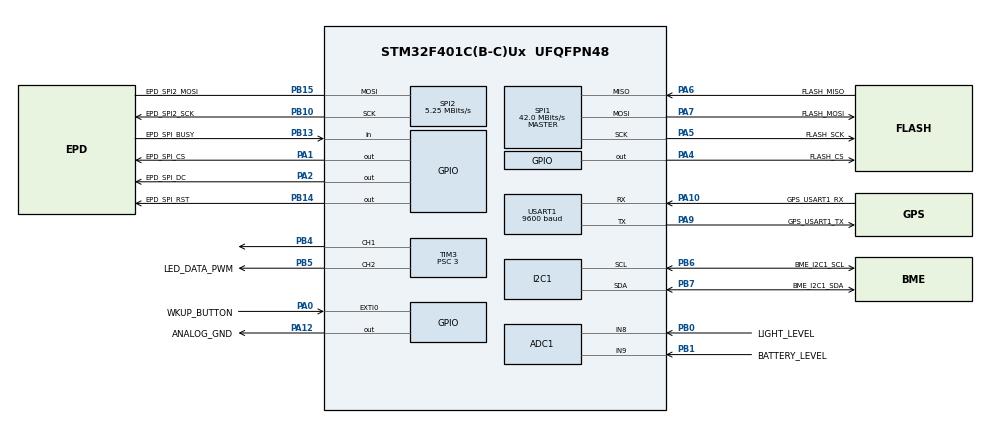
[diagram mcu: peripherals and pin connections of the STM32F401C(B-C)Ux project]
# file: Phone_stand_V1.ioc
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ADC1.Channel-4\#ChannelRegularConversion=ADC_CHANNEL_9
ADC1.NbrOfConversionFlag=1
ADC1.Rank-4\#ChannelRegularConversion=1
ADC1.SamplingTime-4\#ChannelRegularConversion=ADC_SAMPLETIME_3CYCLES
ADC1.master=1
Dma.Request0=SPI2_TX
Dma.Request1=TIM3_CH2
Dma.SPI2_TX.0.Direction=DMA_MEMORY_TO_PERIPH
Dma.SPI2_TX.0.FIFOMode=DMA_FIFOMODE_DISABLE
Dma.SPI2_TX.0.Instance=DMA1_Stream4
Dma.SPI2_TX.0.MemDataAlignment=DMA_MDATAALIGN_BYTE
Dma.SPI2_TX.0.MemInc=DMA_MINC_ENABLE
Dma.SPI2_TX.0.Mode=DMA_NORMAL
Dma.SPI2_TX.0.PeriphDataAlignment=DMA_PDATAALIGN_BYTE
Dma.SPI2_TX.0.PeriphInc=DMA_PINC_DISABLE
Dma.SPI2_TX.0.Priority=DMA_PRIORITY_VERY_HIGH
Dma.TIM3_CH2.1.Direction=DMA_MEMORY_TO_PERIPH
Dma.TIM3_CH2.1.FIFOMode=DMA_FIFOMODE_DISABLE
Dma.TIM3_CH2.1.Instance=DMA1_Stream5
Dma.TIM3_CH2.1.MemDataAlignment=DMA_MDATAALIGN_HALFWORD
Dma.TIM3_CH2.1.MemInc=DMA_MINC_ENABLE
Dma.TIM3_CH2.1.Mode=DMA_NORMAL
Dma.TIM3_CH2.1.PeriphDataAlignment=DMA_PDATAALIGN_HALFWORD
Dma.TIM3_CH2.1.PeriphInc=DMA_PINC_DISABLE
Dma.TIM3_CH2.1.Priority=DMA_PRIORITY_LOW
Mcu.Family=STM32F4
Mcu.Name=STM32F401C(B-C)Ux
Mcu.Package=UFQFPN48
NVIC.DMA1_Stream4_IRQn=true\:0\:0\:false\:true\:true\:5\:false\:true\:true
NVIC.DMA1_Stream5_IRQn=true\:0\:0\:false\:false\:true\:false\:true\:true
NVIC.EXTI0_IRQn=true\:0\:0\:true\:true\:true\:2\:true\:true\:true
NVIC.PriorityGroup=NVIC_PRIORITYGROUP_4
NVIC.RTC_Alarm_IRQn=true\:0\:0\:true\:true\:true\:1\:true\:true\:true
NVIC.TIM3_IRQn=true\:0\:0\:false\:false\:true\:true\:true\:true
NVIC.TIM4_IRQn=true\:0\:0\:false\:true\:true\:4\:true\:true\:true
NVIC.USART1_IRQn=true\:1\:0\:true\:true\:true\:3\:true\:true\:true
PA0-WKUP.GPIO_Label=WKUP_BUTTON
PA0-WKUP.GPIO_PuPd=GPIO_PULLDOWN
PA0-WKUP.Signal=GPXTI0
PA1.GPIO_Label=EPD_SPI_CS
PA1.Signal=GPIO_Output
PA10.GPIO_Label=GPS_USART1_RX
PA10.Mode=Asynchronous
PA10.Signal=USART1_RX
PA12.GPIO_Label=ANALOG_GND
PA12.GPIO_ModeDefaultOutputPP=GPIO_MODE_OUTPUT_OD
PA12.GPIO_PuPd=GPIO_NOPULL
PA12.PinState=GPIO_PIN_SET
PA12.Signal=GPIO_Output
PA13.Mode=Serial_Wire
PA13.Signal=SYS_JTMS-SWDIO
PA14.Mode=Serial_Wire
PA14.Signal=SYS_JTCK-SWCLK
PA2.GPIO_Label=EPD_SPI_DC
PA2.Signal=GPIO_Output
PA4.GPIO_Label=FLASH_CS
PA4.GPIO_Speed=GPIO_SPEED_FREQ_HIGH
PA4.PinState=GPIO_PIN_SET
PA4.Signal=GPIO_Output
PA5.GPIO_Label=FLASH_SCK
PA5.Mode=Full_Duplex_Master
PA5.Signal=SPI1_SCK
PA6.GPIO_Label=FLASH_MISO
PA6.Mode=Full_Duplex_Master
PA6.Signal=SPI1_MISO
PA7.GPIO_Label=FLASH_MOSI
PA7.Mode=Full_Duplex_Master
PA7.Signal=SPI1_MOSI
PA9.GPIO_Label=GPS_USART1_TX
PA9.Mode=Asynchronous
PA9.Signal=USART1_TX
PB0.GPIO_Label=LIGHT_LEVEL
PB0.Signal=ADCx_IN8
PB1.GPIO_Label=BATTERY_LEVEL
PB1.Signal=ADCx_IN9
PB10.GPIO_Label=EPD_SPI2_SCK
PB10.Mode=Simplex_Bidirectional_Master
PB10.Signal=SPI2_SCK
PB13.GPIO_Label=EPD_SPI_BUSY
PB13.Signal=GPIO_Input
PB14.GPIO_Label=EPD_SPI_RST
PB14.Signal=GPIO_Output
PB15.GPIO_Label=EPD_SPI2_MOSI
PB15.Mode=Simplex_Bidirectional_Master
PB15.Signal=SPI2_MOSI
PB4.Signal=S_TIM3_CH1
PB5.GPIO_Label=LED_DATA_PWM
PB5.Signal=S_TIM3_CH2
PB6.GPIO_Label=BME_I2C1_SCL
PB6.Mode=I2C
PB6.Signal=I2C1_SCL
PB7.GPIO_Label=BME_I2C1_SDA
PB7.Mode=I2C
PB7.Signal=I2C1_SDA
PC14-OSC32_IN.Mode=LSE-External-Oscillator
PC14-OSC32_IN.Signal=RCC_OSC32_IN
PC15-OSC32_OUT.Mode=LSE-External-Oscillator
PC15-OSC32_OUT.Signal=RCC_OSC32_OUT
PH0\ -\ OSC_IN.Mode=HSE-External-Oscillator
PH0\ -\ OSC_IN.Signal=RCC_OSC_IN
PH1\ -\ OSC_OUT.Mode=HSE-External-Oscillator
PH1\ -\ OSC_OUT.Signal=RCC_OSC_OUT
ProjectManager.HeapSize=0x5000
ProjectManager.StackSize=0x800
ProjectManager.TargetToolchain=STM32CubeIDE
RCC.48MHZClocksFreq_Value=24000000
RCC.AHBFreq_Value=84000000
RCC.APB1CLKDivider=RCC_HCLK_DIV2
RCC.APB1Freq_Value=42000000
RCC.APB1TimFreq_Value=84000000
RCC.APB2Freq_Value=84000000
RCC.APB2TimFreq_Value=84000000
RCC.CortexFreq_Value=84000000
RCC.HCLKFreq_Value=84000000
RCC.HSE_VALUE=26000000
RCC.HSI_VALUE=16000000
RCC.PLLM=13
RCC.PLLN=84
RCC.PLLQ=7
RCC.PLLSourceVirtual=RCC_PLLSOURCE_HSE
RCC.RCC_RTC_Clock_SourceVirtual=RCC_RTCCLKSOURCE_LSE
RCC.SYSCLKFreq_VALUE=84000000
RCC.SYSCLKSource=RCC_SYSCLKSOURCE_PLLCLK
RCC.VCOOutputFreq_Value=168000000
RTC.Alarm=RTC_ALARM_A
RTC.AlarmDateWeekDaySel=RTC_ALARMDATEWEEKDAYSEL_WEEKDAY
RTC.AlarmDateWeekDaySel_B=RTC_ALARMDATEWEEKDAYSEL_WEEKDAY
RTC.AlarmMaskDateWeekDay=RTC_ALARMMASK_DATEWEEKDAY
RTC.AlarmMaskDateWeekDay_B=RTC_ALARMMASK_DATEWEEKDAY
RTC.AlarmMaskHours=RTC_ALARMMASK_HOURS
RTC.AlarmMaskHours_B=RTC_ALARMMASK_HOURS
RTC.AlarmMaskMinutes=RTC_ALARMMASK_MINUTES
RTC.AlarmMaskMinutes_B=RTC_ALARMMASK_MINUTES
RTC.Alarm_B=RTC_ALARM_B
RTC.DayLightSaving=RTC_DAYLIGHTSAVING_NONE
RTC.Format=RTC_FORMAT_BIN
RTC.Seconds_A=30
RTC.Seconds_B=30
RTC.StoreOperation=RTC_STOREOPERATION_SET
SH.ADCx_IN8.0=ADC1_IN8,IN8
SH.ADCx_IN9.0=ADC1_IN9,IN9
SH.S_TIM3_CH1.0=TIM3_CH1,PWM Generation1 CH1
SH.S_TIM3_CH2.0=TIM3_CH2,PWM Generation2 CH2
SPI1.CalculateBaudRate=42.0 MBits/s
SPI1.Direction=SPI_DIRECTION_2LINES
SPI1.Mode=SPI_MODE_MASTER
SPI1.VirtualType=VM_MASTER
SPI2.BaudRatePrescaler=SPI_BAUDRATEPRESCALER_8
SPI2.CalculateBaudRate=5.25 MBits/s
SPI2.Direction=SPI_DIRECTION_1LINE
SPI2.Mode=SPI_MODE_MASTER
SPI2.VirtualType=VM_MASTER
TIM3.AutoReloadPreload=TIM_AUTORELOAD_PRELOAD_ENABLE
TIM3.Channel-PWM\ Generation1\ CH1=TIM_CHANNEL_1
TIM3.Channel-PWM\ Generation2\ CH2=TIM_CHANNEL_2
TIM3.Period=25
TIM3.Prescaler=3
TIM4.AutoReloadPreload=TIM_AUTORELOAD_PRELOAD_ENABLE
TIM4.Period=4999
TIM4.Prescaler=299
USART1.BaudRate=9600
USART1.VirtualMode=VM_ASYNC
VP_RTC_VS_RTC_Activate.Mode=RTC_Enabled
VP_RTC_VS_RTC_Alarm_A_Intern.Mode=Alarm A
VP_RTC_VS_RTC_Alarm_B_Intern.Mode=Alarm B
VP_RTC_VS_RTC_Calendar.Mode=RTC_Calendar
VP_TIM4_VS_ClockSourceINT.Mode=Internal
board=custom

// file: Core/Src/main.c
/* USER CODE BEGIN Header */
/**
 ******************************************************************************
 * @file           : main.c
 * @brief          : Main program body
 ******************************************************************************
 * @attention
 *
 * Copyright (c) 2024 STMicroelectronics.
 * All rights reserved.
 *
 * This software is licensed under terms that can be found in the LICENSE file
 * in the root directory of this software component.
 * If no LICENSE file comes with this software, it is provided AS-IS.
 *
 ******************************************************************************
 */
/* USER CODE END Header */
#include "main.h"
#include "adc.h"
#include "dma.h"
#include "i2c.h"
#include "rtc.h"
#include "spi.h"
#include "tim.h"
#include "usart.h"
#include "gpio.h"

/* USER CODE BEGIN Includes */
#include "string.h"
#include "stdio.h"
#include "stdlib.h"
#include "bmp280.h"            // BMP280 sensor library
#include "NEO_6M.h"            // GPS module library
#include "alarms_rtc.h"        // Alarm and RTC handling library
#include "ui.h"                // User Interface (UI) library
#include "led_ws2812b.h"       // WS2812B LED handling library
/* USER CODE END Includes */

/* USER CODE BEGIN PD */
#define ACTIVE 1       // State: Active
#define INACTIVE 0     // State: Inactive
//#define USB_CDC_IS_ACTIVE // Turn on and off printf functionality
/* USER CODE END PD */

/* USER CODE BEGIN PV */
#ifdef USB_CDC_IS_ACTIVE
#include "ring_buffer.h"      // Circular buffer for UART/USB data
#include "parse_commands.h"   // Command parsing library
extern uint8_t CDC_Transmit_FS (uint8_t *Buf, uint16_t Len);  // USB transmit function

RingBuffer_t ReceiveBuffer;   // Circular buffer for received data
uint8_t ReceviedLines;        // Number of complete received lines
uint8_t ReceivedData[64];     // Buffer for processing received data
#endif

// Volatile flags for various processes
volatile uint8_t process_AlarmA;        // Alarm A processing flag
volatile uint8_t process_AlarmB;        // Alarm B processing flag
volatile uint8_t process_UserMenu;      // User menu processing flag
volatile uint8_t update_LED;            // LED update flag
uint8_t process_LED;                    // LED processing status

// This variable is a flag for turning on next screen when wakeup was initialized by the wkup button
// 0 - Button not pressed
// 1 - Button pressed, initial screen change required
// 2 - Initial screen change completed
volatile uint8_t UserMenuFirstUse = 0;

// Wake-up source tracking
wakeUpSource_t wakeUpSource = 0;        // Source of MCU wake-up
uint32_t process_UserMenuTimer = 0;     // Timer for user menu processing

/* USER CODE END PV */

void SystemClock_Config (void);
static void MX_NVIC_Init (void);

int main (void)
{

  /* MCU Configuration--------------------------------------------------------*/

  /* Reset of all peripherals, Initializes the Flash interface and the Systick. */
  HAL_Init ();

  /* Configure the system clock */
  SystemClock_Config ();

  /* Initialize all configured peripherals */
  MX_GPIO_Init ();
  MX_DMA_Init ();
  MX_I2C1_Init ();
  MX_USART1_UART_Init ();
  MX_RTC_Init ();
  MX_SPI1_Init ();
  MX_ADC1_Init ();
  MX_TIM3_Init ();
  MX_SPI2_Init ();
  MX_TIM4_Init ();

  /* Initialize interrupts */
  MX_NVIC_Init ();
  /* USER CODE BEGIN 2 */

  /* Check the wake-up source and initialize the UI */
  wakeUpSource = Check_RTC_Alarm ();
  UI_Init ();

  // Handle different wake-up scenarios
  switch (wakeUpSource)
  {
    case WKUP_SRC_ALARM_A:
      process_AlarmA = ACTIVE;
      process_AlarmB = INACTIVE;
      break;
    case WKUP_SRC_ALARM_B:
      process_AlarmA = INACTIVE;
      process_AlarmB = ACTIVE;
      break;
    case WKUP_SRC_WKUP_PIN:
      process_UserMenu = ACTIVE;
      UserMenuFirstUse = 1;
      process_UserMenuTimer = HAL_GetTick ();

      // Re-enable alarms if required
      if (RTC->CR & RTC_CR_ALRAE)
      {
	RTC_AlarmTypeDef sAlarm =
	{ 0 };
	HAL_RTC_GetAlarm (&hrtc, &sAlarm, RTC_ALARM_A, RTC_FORMAT_BIN);
	if (HAL_RTC_SetAlarm_IT (&hrtc, &sAlarm, RTC_FORMAT_BIN) != HAL_OK)
	{
	  Error_Handler ();
	}
      }
      if (RTC->CR & RTC_CR_ALRBE)
      {
	RTC_AlarmTypeDef sAlarm =
	{ 0 };
	HAL_RTC_GetAlarm (&hrtc, &sAlarm, RTC_ALARM_B, RTC_FORMAT_BIN);
	if (HAL_RTC_SetAlarm_IT (&hrtc, &sAlarm, RTC_FORMAT_BIN) != HAL_OK)
	{
	  Error_Handler ();
	}
      }
      break;
    case WKUP_SRC_BOOT_UP:
    default:
      process_AlarmA = ACTIVE;
      process_AlarmB = ACTIVE;
      break;
  };

  /* USER CODE END 2 */

  /* Infinite loop */
  /* USER CODE BEGIN WHILE */
  while (1)
  {
    // Handle user menu processing, after 20s without action clock screen is displayed
    if (((HAL_GetTick () - process_UserMenuTimer) < 20000) && process_UserMenu == ACTIVE)
    {
      UI_RunMenuProcess (UserMenuFirstUse);
      UserMenuFirstUse = 2;  // Mark initial screen change as done
    }
    else if (((HAL_GetTick () - process_UserMenuTimer) >= 20000) && process_UserMenu == ACTIVE)
    {
      UI_ShowClockScreen (); // Return to clock screen
      UserMenuFirstUse = 0;
      process_UserMenu = INACTIVE;
    }

    // Process Alarm A
    if (process_AlarmA == ACTIVE && process_AlarmB == INACTIVE)
    {
      process_AlarmA = GPS_RunProcess ();
    }

    // Process Alarm B
    if (process_AlarmB == ACTIVE)
    {
      UI_RunOneMinuteProcess ();
      process_AlarmB = INACTIVE;
    }

    // Process LEDs
    if (update_LED == ACTIVE)
    {
      process_LED = LED_RunProcess ();
      update_LED = INACTIVE;
    }

    // USB CDC data parsing (if enabled)
#ifdef USB_CDC_IS_ACTIVE
    if (ReceviedLines > 0) {
      Parser_TakeLine(&ReceiveBuffer, ReceivedData);  // Fetch one line
      ReceviedLines--;                                // Decrement counter
      Parser_Parse(ReceivedData);                    // Parse the line
    }
#endif

    if (process_AlarmA == INACTIVE && process_AlarmB == INACTIVE &&
            process_UserMenu == INACTIVE && process_LED == INACTIVE) {
    #ifdef USB_CDC_IS_ACTIVE
          //printf("-> Going to standby mode\n\r");
    #endif
          HAL_PWR_EnableWakeUpPin(PWR_WAKEUP_PIN1);
          HAL_Delay(20);
          HAL_PWR_EnterSTANDBYMode();
        }

    /* USER CODE END WHILE */

  }
}

void SystemClock_Config (void)
{
  RCC_OscInitTypeDef RCC_OscInitStruct =
  { 0 };
  RCC_ClkInitTypeDef RCC_ClkInitStruct =
  { 0 };

  /** Configure the main internal regulator output voltage
   */
  __HAL_RCC_PWR_CLK_ENABLE();
  __HAL_PWR_VOLTAGESCALING_CONFIG(PWR_REGULATOR_VOLTAGE_SCALE2);

  /** Initializes the RCC Oscillators according to the specified parameters
   * in the RCC_OscInitTypeDef structure.
   */
  RCC_OscInitStruct.OscillatorType = RCC_OSCILLATORTYPE_HSE | RCC_OSCILLATORTYPE_LSE;
  RCC_OscInitStruct.HSEState = RCC_HSE_ON;
  RCC_OscInitStruct.LSEState = RCC_LSE_ON;
  RCC_OscInitStruct.PLL.PLLState = RCC_PLL_ON;
  RCC_OscInitStruct.PLL.PLLSource = RCC_PLLSOURCE_HSE;
  RCC_OscInitStruct.PLL.PLLM = 13;
  RCC_OscInitStruct.PLL.PLLN = 84;
  RCC_OscInitStruct.PLL.PLLP = RCC_PLLP_DIV2;
  RCC_OscInitStruct.PLL.PLLQ = 7;
  if (HAL_RCC_OscConfig (&RCC_OscInitStruct) != HAL_OK)
  {
    Error_Handler ();
  }

  /** Initializes the CPU, AHB and APB buses clocks
   */
  RCC_ClkInitStruct.ClockType = RCC_CLOCKTYPE_HCLK | RCC_CLOCKTYPE_SYSCLK | RCC_CLOCKTYPE_PCLK1 | RCC_CLOCKTYPE_PCLK2;
  RCC_ClkInitStruct.SYSCLKSource = RCC_SYSCLKSOURCE_PLLCLK;
  RCC_ClkInitStruct.AHBCLKDivider = RCC_SYSCLK_DIV1;
  RCC_ClkInitStruct.APB1CLKDivider = RCC_HCLK_DIV2;
  RCC_ClkInitStruct.APB2CLKDivider = RCC_HCLK_DIV1;

  if (HAL_RCC_ClockConfig (&RCC_ClkInitStruct, FLASH_LATENCY_2) != HAL_OK)
  {
    Error_Handler ();
  }
}

/**
 * @brief NVIC Configuration.
 * @retval None
 */
static void MX_NVIC_Init (void)
{
  /* RTC_Alarm_IRQn interrupt configuration */
  HAL_NVIC_SetPriority (RTC_Alarm_IRQn, 0, 0);
  HAL_NVIC_EnableIRQ (RTC_Alarm_IRQn);
  /* EXTI0_IRQn interrupt configuration */
  HAL_NVIC_SetPriority (EXTI0_IRQn, 0, 0);
  HAL_NVIC_EnableIRQ (EXTI0_IRQn);
  /* USART1_IRQn interrupt configuration */
  HAL_NVIC_SetPriority (USART1_IRQn, 1, 0);
  HAL_NVIC_EnableIRQ (USART1_IRQn);
  /* TIM4_IRQn interrupt configuration */
  HAL_NVIC_SetPriority (TIM4_IRQn, 0, 0);
  HAL_NVIC_EnableIRQ (TIM4_IRQn);
  /* DMA1_Stream4_IRQn interrupt configuration */
  HAL_NVIC_SetPriority (DMA1_Stream4_IRQn, 0, 0);
  HAL_NVIC_EnableIRQ (DMA1_Stream4_IRQn);
}

/* USER CODE BEGIN 4 */
#ifdef USB_CDC_IS_ACTIVE
/**
  * @brief  Overrides the _write function for USB CDC printf functionality.
  * @param  file: Unused parameter
  * @param  ptr: Pointer to the data buffer to transmit
  * @param  len: Length of the data buffer
  * @retval int: Number of bytes written or 0 in case of failure
  */
int _write(int file, char *ptr, int len) {
    static uint8_t rc = USBD_OK;

    // Wait for the USB to become ready if it's busy
    do {
        rc = CDC_Transmit_FS((uint8_t*)ptr, len);
    } while (USBD_BUSY == rc );

    // Handle a rare error case
    if (USBD_FAIL == rc) {
        // NOTE: This should not occur, but add error handling here if needed
        return 0;
    }
    return len;  // Return the number of bytes written
}

/**
  * @brief  Callback function for USB CDC data reception.
  * @param  Buffer: Pointer to the received data
  * @param  Length: Length of the received data
  */
void CDC_ReceiveCallback (uint8_t *Buffer, uint8_t Length)
{
  // Write received data to the ring buffer
  if (RB_OK == RB_Write(&ReceiveBuffer, Buffer, Length))
  {
      // Check for end-of-line characters in the received data
      for(uint32_t i = 0; i < Length ; i++)
      {
          if (Buffer[i] == ENDLINE)
          {
              ReceviedLines++;  // Increment line count for complete lines
          }
      }
  }
}
#endif

/**
  * @brief  RTC Alarm A event callback.
  * @param  hrtc: Pointer to the RTC handle
  * @retval None
  */
void HAL_RTC_AlarmAEventCallback (RTC_HandleTypeDef *hrtc)
{
  process_AlarmA = ACTIVE;  // Set the Alarm A processing flag
}

/**
  * @brief  RTC Alarm B event callback.
  * @param  hrtc: Pointer to the RTC handle
  * @retval None
  */
void HAL_RTCEx_AlarmBEventCallback (RTC_HandleTypeDef *hrtc)
{
  process_AlarmB = ACTIVE;  // Set the Alarm B processing flag
}

/**
  * @brief  External interrupt callback for GPIO pins.
  * @param  GPIO_Pin: The pin number that triggered the interrupt
  * @retval None
  */
void HAL_GPIO_EXTI_Callback(uint16_t GPIO_Pin)
{
  if (GPIO_Pin == WKUP_BUTTON_Pin) // Wakeup button interrupt
  {
    process_UserMenu = ACTIVE;  // Activate user menu process
    if (UserMenuFirstUse == 0) UserMenuFirstUse = 1;  // First-use flag
    process_UserMenuTimer = HAL_GetTick();  // Record the current time
  }

  // Clear the EXTI Line 0 flag for the WKUP pin
  __HAL_GPIO_EXTI_CLEAR_IT(EXTI_LINE_0);
}

/**
  * @brief  Callback for PWM pulse finished events.
  * @param  htim: Pointer to the timer handle
  * @retval None
  */
void HAL_TIM_PWM_PulseFinishedCallback(TIM_HandleTypeDef *htim)
{
  // Stop the PWM DMA and reset the CCR1 register
  HAL_TIM_PWM_Stop_DMA(&htim3, TIM_CHANNEL_2);
  htim3.Instance->CCR1 = 0;
}

/**
  * @brief  Timer period elapsed callback (for TIM peripherals).
  * @param  htim: Pointer to the timer handle
  * @retval None
  */
void HAL_TIM_PeriodElapsedCallback(TIM_HandleTypeDef *htim)
{
  update_LED = ACTIVE;  // Set the LED update flag
}
/* USER CODE END 4 */

void Error_Handler (void)
{
  /* USER CODE BEGIN Error_Handler_Debug */
  /* User can add his own implementation to report the HAL error return state */

  neopixel_led leds[16] = {0};

  //__disable_irq (); ///>irq needed for leds
  while (1)
  {
    LED_SetAllLeds(leds, 16);
    HAL_TIM_PWM_Start_DMA (&htim3, TIM_CHANNEL_2, (uint32_t*) leds, 16 * 24);
    HAL_Delay(500);

    // Turn them off
    LED_ResetAllLeds(leds, 16);
    HAL_TIM_PWM_Start_DMA (&htim3, TIM_CHANNEL_2, (uint32_t*) leds, 16 * 24);
    HAL_Delay(500);
  }
  /* USER CODE END Error_Handler_Debug */
}
